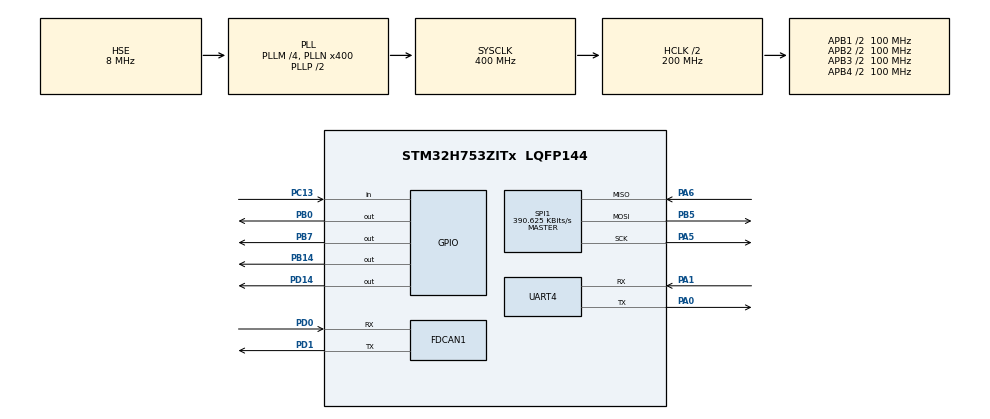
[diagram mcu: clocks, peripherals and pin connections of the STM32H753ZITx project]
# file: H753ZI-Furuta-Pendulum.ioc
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CORTEX_M7.CPU_DCache=Disabled
CORTEX_M7.CPU_ICache=Disabled
CORTEX_M7.MPU_Control=__NULL
CORTEX_M7.default_mode_Activation=1
FDCAN1.AutoRetransmission=ENABLE
FDCAN1.CalculateBaudRateNominal=1000000
FDCAN1.CalculateTimeBitNominal=1000
FDCAN1.CalculateTimeQuantumNominal=50.0
FDCAN1.NominalPrescaler=5
FDCAN1.NominalTimeSeg1=15
FDCAN1.NominalTimeSeg2=4
FDCAN1.RxFifo0ElmtsNbr=8
FDCAN1.StdFiltersNbr=1
FDCAN1.TxFifoQueueElmtsNbr=8
Mcu.Family=STM32H7
Mcu.Name=STM32H753ZITx
Mcu.Package=LQFP144
NUCLEO-H753ZI.BUTTON=1
NUCLEO-H753ZI.Bsp_Common_DEMO=true
NUCLEO-H753ZI.LD1=true
NUCLEO-H753ZI.LD2=true
NUCLEO-H753ZI.LD3=true
NUCLEO-H753ZI.VCP=true
NVIC.EXTI15_10_IRQn=true\:0\:0\:false\:false\:true\:false\:true\:true
NVIC.FDCAN1_IT0_IRQn=true\:0\:0\:false\:false\:true\:true\:true\:true
NVIC.PriorityGroup=NVIC_PRIORITYGROUP_4
NVIC.TIM2_IRQn=true\:0\:0\:false\:false\:true\:true\:true\:true
PA0.GPIO_Speed=GPIO_SPEED_FREQ_VERY_HIGH
PA0.Mode=Asynchronous
PA0.Signal=UART4_TX
PA1.GPIO_Speed=GPIO_SPEED_FREQ_VERY_HIGH
PA1.Mode=Asynchronous
PA1.Signal=UART4_RX
PA5.GPIO_Speed=GPIO_SPEED_FREQ_VERY_HIGH
PA5.Mode=Full_Duplex_Master
PA5.Signal=SPI1_SCK
PA6.GPIO_Speed=GPIO_SPEED_FREQ_VERY_HIGH
PA6.Mode=Full_Duplex_Master
PA6.Signal=SPI1_MISO
PB0.Signal=GPIO_Output
PB14.Signal=GPIO_Output
PB5.GPIO_Speed=GPIO_SPEED_FREQ_VERY_HIGH
PB5.Mode=Full_Duplex_Master
PB5.Signal=SPI1_MOSI
PB7.Signal=GPIO_Output
PC13.Signal=GPIO_Input
PC14-OSC32_IN\ (OSC32_IN).Signal=RCC_OSC32_IN
PC15-OSC32_OUT\ (OSC32_OUT).Signal=RCC_OSC32_OUT
PD0.GPIO_Speed=GPIO_SPEED_FREQ_VERY_HIGH
PD0.Mode=FDCAN_Activate
PD0.Signal=FDCAN1_RX
PD1.GPIO_Speed=GPIO_SPEED_FREQ_VERY_HIGH
PD1.Mode=FDCAN_Activate
PD1.Signal=FDCAN1_TX
PD14.GPIO_Speed=GPIO_SPEED_FREQ_VERY_HIGH
PD14.PinState=GPIO_PIN_SET
PD14.Signal=GPIO_Output
PD8.Signal=USART3_TX
PD9.Signal=USART3_RX
PH0-OSC_IN\ (PH0).Mode=HSE-External-Clock-Source
PH0-OSC_IN\ (PH0).Signal=RCC_OSC_IN
PH1-OSC_OUT\ (PH1).Signal=RCC_OSC_OUT
ProjectManager.HeapSize=0x200
ProjectManager.StackSize=0x400
ProjectManager.TargetToolchain=STM32CubeIDE
RCC.ADCFreq_Value=16125000
RCC.APB1Freq_Value=100000000
RCC.APB2Freq_Value=100000000
RCC.APB3Freq_Value=100000000
RCC.APB4Freq_Value=100000000
RCC.CortexFreq_Value=400000000
RCC.D1PPRE=RCC_APB3_DIV2
RCC.D2PPRE1=RCC_APB1_DIV2
RCC.D2PPRE2=RCC_APB2_DIV2
RCC.D3PPRE=RCC_APB4_DIV2
RCC.DIVM1=4
RCC.DIVN1=400
RCC.DIVQ1=8
RCC.HCLKFreq_Value=200000000
RCC.HPRE=RCC_HCLK_DIV2
RCC.HSE_VALUE=8000000
RCC.PLLFRACN=0
RCC.PLLSourceVirtual=RCC_PLLSOURCE_HSE
RCC.PWR_Regulator_Voltage_Scale=PWR_REGULATOR_VOLTAGE_SCALE0
RCC.SYSCLKFreq_VALUE=400000000
RCC.SYSCLKSource=RCC_SYSCLKSOURCE_PLLCLK
RCC.USBFreq_Value=100000000
SPI1.BaudRatePrescaler=SPI_BAUDRATEPRESCALER_256
SPI1.CLKPhase=SPI_PHASE_2EDGE
SPI1.CalculateBaudRate=390.625 KBits/s
SPI1.DataSize=SPI_DATASIZE_16BIT
SPI1.Direction=SPI_DIRECTION_2LINES
SPI1.Mode=SPI_MODE_MASTER
SPI1.NSSPMode=SPI_NSS_PULSE_DISABLE
SPI1.VirtualType=VM_MASTER
TIM2.Period=999
TIM2.Prescaler=199
VP_MEMORYMAP_VS_MEMORYMAP.Mode=CurAppReg
VP_NUCLEO-H753ZI_VS_BSP_COMMON.Mode=COMMON
VP_TIM2_VS_ClockSourceINT.Mode=Internal
board=NUCLEO-H753ZI

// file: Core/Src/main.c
/* USER CODE BEGIN Header */
/**
  ******************************************************************************
  * @file           : main.c
  * @brief          : Main program body
  ******************************************************************************
  * @attention
  *
  * Copyright (c) 2026 STMicroelectronics.
  * All rights reserved.
  *
  * This software is licensed under terms that can be found in the LICENSE file
  * in the root directory of this software component.
  * If no LICENSE file comes with this software, it is provided AS-IS.
  *
  ******************************************************************************
  */
/* USER CODE END Header */
#include "main.h"

/* USER CODE BEGIN PD */

// AS5047P SPI
#define AS5047P_CS_PORT GPIOD
#define AS5047P_CS_PIN  GPIO_PIN_14

#define AS5047P_REG_ANGLECOM 0x3FFF
#define AS5047P_CPR          16384.0f
#define TWO_PI_F             6.28318530718f

#define UPRIGHT_RAW 14675

// CAN IDs and commands
#define ODRIVE_NODE_ID              1

#define ODRIVE_CMD_HEARTBEAT        0x01
#define ODRIVE_CMD_SET_AXIS_STATE   0x07
#define ODRIVE_CMD_GET_ENCODER_EST  0x09
#define ODRIVE_CMD_SET_CTRL_MODE    0x0B
#define ODRIVE_CMD_SET_INPUT_TORQUE 0x0E

#define AXIS_STATE_IDLE             1
#define AXIS_STATE_CLOSED_LOOP      8

#define CONTROL_MODE_TORQUE         1
#define INPUT_MODE_PASSTHROUGH      1

#define ODRIVE_CAN_ID(cmd)          ((ODRIVE_NODE_ID << 5) | (cmd))

// Control: PID parameters
#define PID_KP              0.200f
//#define PID_KI              0.000f
#define PID_KD              0.0005f // 0.0005

//#define PID_I_LIMIT         0.003f
#define TORQUE_LIMIT        0.05f

#define BALANCE_ANGLE_LIMIT 0.35f // 20 degree
#define SWING_TORQUE        0.018f

#define CONTROL_DT          0.001f

//
#define THETA_DEADBAND      0.010f   // ≈0.57°
#define ARM_VEL_DAMPING     0.002f
#define ARM_POS_KP          0.005f
#define ARM_POS_LIMIT       0.004f
/* USER CODE END PD */

COM_InitTypeDef BspCOMInit;
__IO uint32_t BspButtonState = BUTTON_RELEASED;

FDCAN_HandleTypeDef hfdcan1;

SPI_HandleTypeDef hspi1;

TIM_HandleTypeDef htim2;

UART_HandleTypeDef huart4;

/* USER CODE BEGIN PV */

// 1kHz timer tick count
volatile uint32_t tick_1k = 0;
volatile uint8_t control_tick = 0;

// AS5047P encoder
uint16_t as5047_raw = 0;
float as5047_angle_rad = 0.0f;
static uint16_t as5047_last_good = 0;
static uint8_t as5047_has_good = 0;

// ODrive CAN communication
volatile uint8_t odrive_rx_flag = 0;

float odrive_pos_turns = 0.0f;
float odrive_vel_turns_s = 0.0f;

uint32_t odrive_axis_error = 0;
uint8_t odrive_axis_state = 0;
uint8_t odrive_system_error = 0;

// Control variables
//loat pend_upright_rad = 0.0f;
float pend_theta = 0.0f;
float pend_theta_prev = 0.0f;
float pend_vel_rad_s = 0.0f;
float pid_i = 0.0f;
float torque_cmd = 0.0f;
float arm_pos_zero = 0.0f;

//uint8_t upright_calibrated = 0;
uint8_t control_enabled = 0;   // 默认不控制，先校准
uint8_t last_control_enabled = 0;
float pend_upright_rad = ((float)UPRIGHT_RAW / AS5047P_CPR) * TWO_PI_F;
/* USER CODE END PV */

void SystemClock_Config(void);
static void MX_GPIO_Init(void);
static void MX_FDCAN1_Init(void);
static void MX_SPI1_Init(void);
static void MX_TIM2_Init(void);
static void MX_UART4_Init(void);

/* USER CODE BEGIN 0 */

// AS5047P SPI communication
static uint8_t even_parity_16(uint16_t v)
{
    v ^= v >> 8;
    v ^= v >> 4;
    v ^= v >> 2;
    v ^= v >> 1;
    return v & 1;
}

static uint16_t as5047p_make_read_cmd(uint16_t addr)
{
    uint16_t cmd = 0x4000 | (addr & 0x3FFF);  // bit14 = read
    if (even_parity_16(cmd))
    {
        cmd |= 0x8000; // bit15 parity
    }
    return cmd;
}

static uint16_t as5047p_spi_txrx(uint16_t tx)
{
    uint16_t rx = 0;

    HAL_GPIO_WritePin(AS5047P_CS_PORT, AS5047P_CS_PIN, GPIO_PIN_RESET);
    HAL_SPI_TransmitReceive(&hspi1, (uint8_t*)&tx, (uint8_t*)&rx, 1, HAL_MAX_DELAY);
    HAL_GPIO_WritePin(AS5047P_CS_PORT, AS5047P_CS_PIN, GPIO_PIN_SET);

    return rx;
}

static uint16_t as5047p_read_angle_raw(void)
{
    uint16_t cmd = as5047p_make_read_cmd(AS5047P_REG_ANGLECOM);

    as5047p_spi_txrx(cmd);
    for(volatile int i=0;i<50;i++);
    uint16_t rx = as5047p_spi_txrx(0x0000);

    return rx & 0x3FFF;
}

static uint16_t read_as5047_safe(void)
{
    uint16_t raw = as5047p_read_angle_raw();

    if (raw == 0 || raw == 0x3FFF)
    {
        return as5047_has_good ? as5047_last_good : raw;
    }

    if (as5047_has_good)
    {
        int32_t diff = (int32_t)raw - (int32_t)as5047_last_good;

        if (diff > 8192) diff -= 16384;
        if (diff < -8192) diff += 16384;

        if (diff > 300 || diff < -300)
        {
            return as5047_last_good;
        }
    }

    as5047_last_good = raw;
    as5047_has_good = 1;
    return raw;
}

static float as5047p_raw_to_rad(uint16_t raw)
{
    return ((float)raw / AS5047P_CPR) * TWO_PI_F;
}

// ODrive CAN communication
static void pack_u32(uint8_t *buf, uint32_t v)
{
    buf[0] = (uint8_t)(v >> 0);
    buf[1] = (uint8_t)(v >> 8);
    buf[2] = (uint8_t)(v >> 16);
    buf[3] = (uint8_t)(v >> 24);
}

static void pack_float(uint8_t *buf, float v)
{
    union {
        float f;
        uint8_t b[4];
    } u;

    u.f = v;
    buf[0] = u.b[0];
    buf[1] = u.b[1];
    buf[2] = u.b[2];
    buf[3] = u.b[3];
}

static float unpack_float(const uint8_t *buf)
{
    union {
        float f;
        uint8_t b[4];
    } u;

    u.b[0] = buf[0];
    u.b[1] = buf[1];
    u.b[2] = buf[2];
    u.b[3] = buf[3];

    return u.f;
}

static uint32_t unpack_u32(const uint8_t *buf)
{
    return ((uint32_t)buf[0] << 0)  |
           ((uint32_t)buf[1] << 8)  |
           ((uint32_t)buf[2] << 16) |
           ((uint32_t)buf[3] << 24);
}

static HAL_StatusTypeDef odrive_can_send(uint8_t cmd_id, uint8_t *data, uint32_t dlc)
{
    FDCAN_TxHeaderTypeDef txHeader = {0};

    txHeader.Identifier = ODRIVE_CAN_ID(cmd_id);
    txHeader.IdType = FDCAN_STANDARD_ID;
    txHeader.TxFrameType = FDCAN_DATA_FRAME;
    txHeader.DataLength = dlc;
    txHeader.ErrorStateIndicator = FDCAN_ESI_ACTIVE;
    txHeader.BitRateSwitch = FDCAN_BRS_OFF;
    txHeader.FDFormat = FDCAN_CLASSIC_CAN;
    txHeader.TxEventFifoControl = FDCAN_NO_TX_EVENTS;
    txHeader.MessageMarker = 0;

    return HAL_FDCAN_AddMessageToTxFifoQ(&hfdcan1, &txHeader, data);
}

static void odrive_clear_errors(void)
{
    uint8_t data[8] = {0};
    pack_u32(&data[0], 0);  // identify = false
    odrive_can_send(0x18, data, FDCAN_DLC_BYTES_4);
}

static void odrive_set_axis_state(uint32_t state)
{
    uint8_t data[8] = {0};
    pack_u32(&data[0], state);
    odrive_can_send(ODRIVE_CMD_SET_AXIS_STATE, data, FDCAN_DLC_BYTES_4);
}

static void odrive_set_torque_mode(void)
{
    uint8_t data[8] = {0};

    pack_u32(&data[0], CONTROL_MODE_TORQUE);
    pack_u32(&data[4], INPUT_MODE_PASSTHROUGH);

    odrive_can_send(ODRIVE_CMD_SET_CTRL_MODE, data, FDCAN_DLC_BYTES_8);
}

static void odrive_set_torque(float torque_nm)
{
    uint8_t data[8] = {0};

    pack_float(&data[0], torque_nm);

    odrive_can_send(ODRIVE_CMD_SET_INPUT_TORQUE, data, FDCAN_DLC_BYTES_4);
}

static void odrive_set_velocity_mode(void)
{
    uint8_t data[8];

    pack_u32(&data[0], 2); // Velocity
    pack_u32(&data[4], 1); // Passthrough

    odrive_can_send(ODRIVE_CMD_SET_CTRL_MODE,
                    data,
                    FDCAN_DLC_BYTES_8);
}

#define ODRIVE_CMD_SET_INPUT_VEL 0x0D

static void odrive_set_velocity(float vel_turns_s)
{
    uint8_t data[8] = {0};

    pack_float(&data[0], vel_turns_s);

    odrive_can_send(ODRIVE_CMD_SET_INPUT_VEL,
                    data,
                    FDCAN_DLC_BYTES_8);
}

static void fdcan_start_accept_all(void)
{
    FDCAN_FilterTypeDef sFilterConfig = {0};

    sFilterConfig.IdType = FDCAN_STANDARD_ID;
    sFilterConfig.FilterIndex = 0;
    sFilterConfig.FilterType = FDCAN_FILTER_MASK;
    sFilterConfig.FilterConfig = FDCAN_FILTER_TO_RXFIFO0;
    sFilterConfig.FilterID1 = 0x000;
    sFilterConfig.FilterID2 = 0x000;

    if (HAL_FDCAN_ConfigFilter(&hfdcan1, &sFilterConfig) != HAL_OK)
    {
        Error_Handler();
    }

    if (HAL_FDCAN_Start(&hfdcan1) != HAL_OK)
    {
        Error_Handler();
    }

    if (HAL_FDCAN_ActivateNotification(&hfdcan1,
                                        FDCAN_IT_RX_FIFO0_NEW_MESSAGE,
                                        0) != HAL_OK)
    {
        Error_Handler();
    }
}

// Control functions
static float wrap_pi(float x)
{
    while (x > 3.14159265359f)  x -= 6.28318530718f;
    while (x < -3.14159265359f) x += 6.28318530718f;
    return x;
}

static float clampf(float x, float min_v, float max_v)
{
    if (x > max_v) return max_v;
    if (x < min_v) return min_v;
    return x;
}

static float compute_swingup_torque(float theta, float theta_dot)
{
    float dir = 0.0f;

    if (theta_dot > 0.02f)      dir = 1.0f;
    else if (theta_dot < -0.02f) dir = -1.0f;
    else                        dir = (theta > 0.0f) ? 1.0f : -1.0f;

    return SWING_TORQUE * dir;
}

static float compute_pd(float theta, float theta_dot)
{
    float tau = 0.0f;

    tau += PID_KP * theta;
    tau += PID_KD * theta_dot;

    return clampf(tau, -TORQUE_LIMIT, TORQUE_LIMIT);
}
/* USER CODE END 0 */

int main(void)
{

  /* MCU Configuration--------------------------------------------------------*/

  /* Reset of all peripherals, Initializes the Flash interface and the Systick. */
  HAL_Init();

  /* Configure the system clock */
  SystemClock_Config();

  /* Initialize all configured peripherals */
  MX_GPIO_Init();
  MX_FDCAN1_Init();
  MX_SPI1_Init();
  MX_TIM2_Init();
  MX_UART4_Init();
  /* USER CODE BEGIN 2 */

  // Start FDCAN in normal mode, accept all messages
  fdcan_start_accept_all();

  HAL_Delay(100);

  odrive_clear_errors();
  HAL_Delay(20);

  odrive_set_torque_mode();
  HAL_Delay(20);

  //odrive_set_velocity_mode();
  //HAL_Delay(20);

  odrive_set_axis_state(AXIS_STATE_IDLE);
  HAL_Delay(100);

  odrive_set_torque(0.0f);

  // Start 1ms timer interrupt
  HAL_TIM_Base_Start_IT(&htim2);

  // set upright position
  control_enabled = 0;
  pend_theta_prev = 0.0f;
  pend_vel_rad_s = 0.0f;
  /* USER CODE END 2 */

  /* Initialize leds */
  BSP_LED_Init(LED_GREEN);
  BSP_LED_Init(LED_BLUE);
  BSP_LED_Init(LED_RED);

  /* Initialize USER push-button, will be used to trigger an interrupt each time it's pressed.*/
  BSP_PB_Init(BUTTON_USER, BUTTON_MODE_EXTI);

  /* Initialize COM1 port (115200, 8 bits (7-bit data + 1 stop bit), no parity */
  BspCOMInit.BaudRate   = 115200;
  BspCOMInit.WordLength = COM_WORDLENGTH_8B;
  BspCOMInit.StopBits   = COM_STOPBITS_1;
  BspCOMInit.Parity     = COM_PARITY_NONE;
  BspCOMInit.HwFlowCtl  = COM_HWCONTROL_NONE;
  if (BSP_COM_Init(COM1, &BspCOMInit) != BSP_ERROR_NONE)
  {
    Error_Handler();
  }

  /* USER CODE BEGIN BSP */

  /* -- Sample board code to send message over COM1 port ---- */
  printf("Welcome to STM32 world !\n\r");

  /* -- Sample board code to switch on leds ---- */
  BSP_LED_On(LED_GREEN);
  BSP_LED_On(LED_BLUE);
  BSP_LED_On(LED_RED);

  /* USER CODE END BSP */

  /* Infinite loop */
  /* USER CODE BEGIN WHILE */
  while (1)
  {
    if (BspButtonState == BUTTON_PRESSED)
    {
        BspButtonState = BUTTON_RELEASED;

        control_enabled = !control_enabled;

        if (control_enabled)
        {
          pid_i = 0.0f;
          /* -- Sample board code to toggle leds ---- */
          BSP_LED_Toggle(LED_GREEN);

          //as5047_raw = as5047p_read_angle_raw();
          as5047_raw = read_as5047_safe();
          as5047_angle_rad = as5047p_raw_to_rad(as5047_raw);
          pend_theta = wrap_pi(as5047_angle_rad - pend_upright_rad);

          pend_theta_prev = pend_theta;
          pend_vel_rad_s = 0.0f;

          arm_pos_zero = odrive_pos_turns;

          odrive_clear_errors();
          HAL_Delay(20);
          odrive_set_torque_mode();
          HAL_Delay(20);
          odrive_set_axis_state(AXIS_STATE_CLOSED_LOOP);
          HAL_Delay(50);
          odrive_set_torque(0.00f);

          printf("PID ENABLED\r\n");
        }
        else
        {
          BSP_LED_Toggle(LED_BLUE);
          BSP_LED_Toggle(LED_RED);
          odrive_set_torque(0.0f);
          HAL_Delay(20);
          odrive_set_axis_state(AXIS_STATE_IDLE);

          printf("MOTOR RELEASED\r\n");
        }
    }
    /* USER CODE END WHILE */

    /* USER CODE BEGIN 3 */
      if(control_tick)
      {
          control_tick = 0;

          as5047_raw = read_as5047_safe();
          as5047_angle_rad = as5047p_raw_to_rad(as5047_raw);

          pend_theta = wrap_pi(as5047_angle_rad - pend_upright_rad);
          pend_vel_rad_s = wrap_pi(pend_theta - pend_theta_prev) / CONTROL_DT;
          pend_theta_prev = pend_theta;

          torque_cmd = 0.0f;
          if (control_enabled)
          {
              if (pend_theta > -BALANCE_ANGLE_LIMIT && pend_theta < BALANCE_ANGLE_LIMIT)
              {
                  float theta_ctrl = pend_theta;

                  if (theta_ctrl > -THETA_DEADBAND && theta_ctrl < THETA_DEADBAND)
                      theta_ctrl = 0.0f;

                  torque_cmd = compute_pd(theta_ctrl, pend_vel_rad_s);

                  float arm_vel_rad_s = odrive_vel_turns_s * TWO_PI_F;
                  float damping = clampf(ARM_VEL_DAMPING * arm_vel_rad_s, -0.02f, 0.02f);

                  float arm_pos_err = odrive_pos_turns - arm_pos_zero;
                  float arm_pos_hold = clampf(ARM_POS_KP * arm_pos_err,
                                              -ARM_POS_LIMIT,
                                              ARM_POS_LIMIT);

                  torque_cmd += damping;
                  torque_cmd += arm_pos_hold;
              }
              else
              {
                  torque_cmd = compute_swingup_torque(pend_theta, pend_vel_rad_s);
              }

              torque_cmd = clampf(torque_cmd, -TORQUE_LIMIT, TORQUE_LIMIT);

              if ((tick_1k % 5) == 0)
                  odrive_set_torque(torque_cmd);
          }
          else
          {
              torque_cmd = 0.0f;
          }

          if ((tick_1k % 100) == 0)
          {
            printf("en=%u raw=%u theta=%.3f vel=%.3f tau=%.4f state=%u err=%lu\r\n",
                  control_enabled,
                  as5047_raw,
                  pend_theta,
                  pend_vel_rad_s,
                  torque_cmd,
                  odrive_axis_state,
                  odrive_axis_error);
          }
      }
    }
  /* USER CODE END 3 */
}

void SystemClock_Config(void)
{
  RCC_OscInitTypeDef RCC_OscInitStruct = {0};
  RCC_ClkInitTypeDef RCC_ClkInitStruct = {0};

  /** Supply configuration update enable
  */
  HAL_PWREx_ConfigSupply(PWR_LDO_SUPPLY);

  /** Configure the main internal regulator output voltage
  */
  __HAL_PWR_VOLTAGESCALING_CONFIG(PWR_REGULATOR_VOLTAGE_SCALE0);

  while(!__HAL_PWR_GET_FLAG(PWR_FLAG_VOSRDY)) {}

  /** Initializes the RCC Oscillators according to the specified parameters
  * in the RCC_OscInitTypeDef structure.
  */
  RCC_OscInitStruct.OscillatorType = RCC_OSCILLATORTYPE_HSE;
  RCC_OscInitStruct.HSEState = RCC_HSE_BYPASS;
  RCC_OscInitStruct.PLL.PLLState = RCC_PLL_ON;
  RCC_OscInitStruct.PLL.PLLSource = RCC_PLLSOURCE_HSE;
  RCC_OscInitStruct.PLL.PLLM = 4;
  RCC_OscInitStruct.PLL.PLLN = 400;
  RCC_OscInitStruct.PLL.PLLP = 2;
  RCC_OscInitStruct.PLL.PLLQ = 8;
  RCC_OscInitStruct.PLL.PLLR = 2;
  RCC_OscInitStruct.PLL.PLLRGE = RCC_PLL1VCIRANGE_1;
  RCC_OscInitStruct.PLL.PLLVCOSEL = RCC_PLL1VCOWIDE;
  RCC_OscInitStruct.PLL.PLLFRACN = 0;
  if (HAL_RCC_OscConfig(&RCC_OscInitStruct) != HAL_OK)
  {
    Error_Handler();
  }

  /** Initializes the CPU, AHB and APB buses clocks
  */
  RCC_ClkInitStruct.ClockType = RCC_CLOCKTYPE_HCLK|RCC_CLOCKTYPE_SYSCLK
                              |RCC_CLOCKTYPE_PCLK1|RCC_CLOCKTYPE_PCLK2
                              |RCC_CLOCKTYPE_D3PCLK1|RCC_CLOCKTYPE_D1PCLK1;
  RCC_ClkInitStruct.SYSCLKSource = RCC_SYSCLKSOURCE_PLLCLK;
  RCC_ClkInitStruct.SYSCLKDivider = RCC_SYSCLK_DIV1;
  RCC_ClkInitStruct.AHBCLKDivider = RCC_HCLK_DIV2;
  RCC_ClkInitStruct.APB3CLKDivider = RCC_APB3_DIV2;
  RCC_ClkInitStruct.APB1CLKDivider = RCC_APB1_DIV2;
  RCC_ClkInitStruct.APB2CLKDivider = RCC_APB2_DIV2;
  RCC_ClkInitStruct.APB4CLKDivider = RCC_APB4_DIV2;

  if (HAL_RCC_ClockConfig(&RCC_ClkInitStruct, FLASH_LATENCY_2) != HAL_OK)
  {
    Error_Handler();
  }
}

static void MX_FDCAN1_Init(void)
{

  hfdcan1.Instance = FDCAN1;
  hfdcan1.Init.FrameFormat = FDCAN_FRAME_CLASSIC;
  hfdcan1.Init.Mode = FDCAN_MODE_NORMAL;
  hfdcan1.Init.AutoRetransmission = ENABLE;
  hfdcan1.Init.TransmitPause = DISABLE;
  hfdcan1.Init.ProtocolException = DISABLE;
  hfdcan1.Init.NominalPrescaler = 5;
  hfdcan1.Init.NominalSyncJumpWidth = 1;
  hfdcan1.Init.NominalTimeSeg1 = 15;
  hfdcan1.Init.NominalTimeSeg2 = 4;
  hfdcan1.Init.DataPrescaler = 1;
  hfdcan1.Init.DataSyncJumpWidth = 1;
  hfdcan1.Init.DataTimeSeg1 = 1;
  hfdcan1.Init.DataTimeSeg2 = 1;
  hfdcan1.Init.MessageRAMOffset = 0;
  hfdcan1.Init.StdFiltersNbr = 1;
  hfdcan1.Init.ExtFiltersNbr = 0;
  hfdcan1.Init.RxFifo0ElmtsNbr = 8;
  hfdcan1.Init.RxFifo0ElmtSize = FDCAN_DATA_BYTES_8;
  hfdcan1.Init.RxFifo1ElmtsNbr = 0;
  hfdcan1.Init.RxFifo1ElmtSize = FDCAN_DATA_BYTES_8;
  hfdcan1.Init.RxBuffersNbr = 0;
  hfdcan1.Init.RxBufferSize = FDCAN_DATA_BYTES_8;
  hfdcan1.Init.TxEventsNbr = 0;
  hfdcan1.Init.TxBuffersNbr = 0;
  hfdcan1.Init.TxFifoQueueElmtsNbr = 8;
  hfdcan1.Init.TxFifoQueueMode = FDCAN_TX_FIFO_OPERATION;
  hfdcan1.Init.TxElmtSize = FDCAN_DATA_BYTES_8;
  if (HAL_FDCAN_Init(&hfdcan1) != HAL_OK)
  {
    Error_Handler();
  }

}

static void MX_SPI1_Init(void)
{

  /* SPI1 parameter configuration*/
  hspi1.Instance = SPI1;
  hspi1.Init.Mode = SPI_MODE_MASTER;
  hspi1.Init.Direction = SPI_DIRECTION_2LINES;
  hspi1.Init.DataSize = SPI_DATASIZE_16BIT;
  hspi1.Init.CLKPolarity = SPI_POLARITY_LOW;
  hspi1.Init.CLKPhase = SPI_PHASE_2EDGE;
  hspi1.Init.NSS = SPI_NSS_SOFT;
  hspi1.Init.BaudRatePrescaler = SPI_BAUDRATEPRESCALER_256;
  hspi1.Init.FirstBit = SPI_FIRSTBIT_MSB;
  hspi1.Init.TIMode = SPI_TIMODE_DISABLE;
  hspi1.Init.CRCCalculation = SPI_CRCCALCULATION_DISABLE;
  hspi1.Init.CRCPolynomial = 0x0;
  hspi1.Init.NSSPMode = SPI_NSS_PULSE_DISABLE;
  hspi1.Init.NSSPolarity = SPI_NSS_POLARITY_LOW;
  hspi1.Init.FifoThreshold = SPI_FIFO_THRESHOLD_01DATA;
  hspi1.Init.TxCRCInitializationPattern = SPI_CRC_INITIALIZATION_ALL_ZERO_PATTERN;
  hspi1.Init.RxCRCInitializationPattern = SPI_CRC_INITIALIZATION_ALL_ZERO_PATTERN;
  hspi1.Init.MasterSSIdleness = SPI_MASTER_SS_IDLENESS_00CYCLE;
  hspi1.Init.MasterInterDataIdleness = SPI_MASTER_INTERDATA_IDLENESS_00CYCLE;
  hspi1.Init.MasterReceiverAutoSusp = SPI_MASTER_RX_AUTOSUSP_DISABLE;
  hspi1.Init.MasterKeepIOState = SPI_MASTER_KEEP_IO_STATE_DISABLE;
  hspi1.Init.IOSwap = SPI_IO_SWAP_DISABLE;
  if (HAL_SPI_Init(&hspi1) != HAL_OK)
  {
    Error_Handler();
  }

}

static void MX_TIM2_Init(void)
{

  TIM_ClockConfigTypeDef sClockSourceConfig = {0};
  TIM_MasterConfigTypeDef sMasterConfig = {0};

  htim2.Instance = TIM2;
  htim2.Init.Prescaler = 199;
  htim2.Init.CounterMode = TIM_COUNTERMODE_UP;
  htim2.Init.Period = 999;
  htim2.Init.ClockDivision = TIM_CLOCKDIVISION_DIV1;
  htim2.Init.AutoReloadPreload = TIM_AUTORELOAD_PRELOAD_DISABLE;
  if (HAL_TIM_Base_Init(&htim2) != HAL_OK)
  {
    Error_Handler();
  }
  sClockSourceConfig.ClockSource = TIM_CLOCKSOURCE_INTERNAL;
  if (HAL_TIM_ConfigClockSource(&htim2, &sClockSourceConfig) != HAL_OK)
  {
    Error_Handler();
  }
  sMasterConfig.MasterOutputTrigger = TIM_TRGO_RESET;
  sMasterConfig.MasterSlaveMode = TIM_MASTERSLAVEMODE_DISABLE;
  if (HAL_TIMEx_MasterConfigSynchronization(&htim2, &sMasterConfig) != HAL_OK)
  {
    Error_Handler();
  }

}

static void MX_UART4_Init(void)
{

  huart4.Instance = UART4;
  huart4.Init.BaudRate = 115200;
  huart4.Init.WordLength = UART_WORDLENGTH_8B;
  huart4.Init.StopBits = UART_STOPBITS_1;
  huart4.Init.Parity = UART_PARITY_NONE;
  huart4.Init.Mode = UART_MODE_TX_RX;
  huart4.Init.HwFlowCtl = UART_HWCONTROL_NONE;
  huart4.Init.OverSampling = UART_OVERSAMPLING_16;
  huart4.Init.OneBitSampling = UART_ONE_BIT_SAMPLE_DISABLE;
  huart4.Init.ClockPrescaler = UART_PRESCALER_DIV1;
  huart4.AdvancedInit.AdvFeatureInit = UART_ADVFEATURE_NO_INIT;
  if (HAL_UART_Init(&huart4) != HAL_OK)
  {
    Error_Handler();
  }
  if (HAL_UARTEx_SetTxFifoThreshold(&huart4, UART_TXFIFO_THRESHOLD_1_8) != HAL_OK)
  {
    Error_Handler();
  }
  if (HAL_UARTEx_SetRxFifoThreshold(&huart4, UART_RXFIFO_THRESHOLD_1_8) != HAL_OK)
  {
    Error_Handler();
  }
  if (HAL_UARTEx_DisableFifoMode(&huart4) != HAL_OK)
  {
    Error_Handler();
  }

}

static void MX_GPIO_Init(void)
{
  GPIO_InitTypeDef GPIO_InitStruct = {0};

  /* GPIO Ports Clock Enable */
  __HAL_RCC_GPIOC_CLK_ENABLE();
  __HAL_RCC_GPIOH_CLK_ENABLE();
  __HAL_RCC_GPIOA_CLK_ENABLE();
  __HAL_RCC_GPIOD_CLK_ENABLE();
  __HAL_RCC_GPIOB_CLK_ENABLE();

  /*Configure GPIO pin Output Level */
  HAL_GPIO_WritePin(GPIOD, GPIO_PIN_14, GPIO_PIN_SET);

  /*Configure GPIO pin : PD14 */
  GPIO_InitStruct.Pin = GPIO_PIN_14;
  GPIO_InitStruct.Mode = GPIO_MODE_OUTPUT_PP;
  GPIO_InitStruct.Pull = GPIO_NOPULL;
  GPIO_InitStruct.Speed = GPIO_SPEED_FREQ_VERY_HIGH;
  HAL_GPIO_Init(GPIOD, &GPIO_InitStruct);

}

/* USER CODE BEGIN 4 */

// 1ms timer interrupt callback
void HAL_TIM_PeriodElapsedCallback(TIM_HandleTypeDef *htim)
{
    if(htim->Instance == TIM2)
    {
        tick_1k++;
        control_tick = 1;
    }
}

// FDCAN RX FIFO 0 new message callback
void HAL_FDCAN_RxFifo0Callback(FDCAN_HandleTypeDef *hfdcan, uint32_t RxFifo0ITs)
{
    if (hfdcan->Instance != FDCAN1)
        return;

    if ((RxFifo0ITs & FDCAN_IT_RX_FIFO0_NEW_MESSAGE) == 0)
        return;

    FDCAN_RxHeaderTypeDef rxHeader;
    uint8_t rxData[8];

    if (HAL_FDCAN_GetRxMessage(&hfdcan1, FDCAN_RX_FIFO0, &rxHeader, rxData) != HAL_OK)
        return;

    uint16_t can_id = rxHeader.Identifier;
    uint8_t cmd_id = can_id & 0x1F;
    uint8_t node_id = can_id >> 5;

    if (node_id != ODRIVE_NODE_ID)
        return;

    if (cmd_id == ODRIVE_CMD_HEARTBEAT)
    {
        odrive_axis_error = unpack_u32(&rxData[0]);
        odrive_axis_state = rxData[4];
        odrive_system_error = rxData[6];
        odrive_rx_flag = 1;
    }
    else if (cmd_id == ODRIVE_CMD_GET_ENCODER_EST)
    {
        odrive_pos_turns = unpack_float(&rxData[0]);
        odrive_vel_turns_s = unpack_float(&rxData[4]);
        odrive_rx_flag = 1;
    }
}
/* USER CODE END 4 */

/**
  * @brief BSP Push Button callback
  * @param Button Specifies the pressed button
  * @retval None
  */
void BSP_PB_Callback(Button_TypeDef Button)
{
  if (Button == BUTTON_USER)
  {
    BspButtonState = BUTTON_PRESSED;
  }
}

void Error_Handler(void)
{
  __disable_irq();
  while (1)
  {
  }
}
